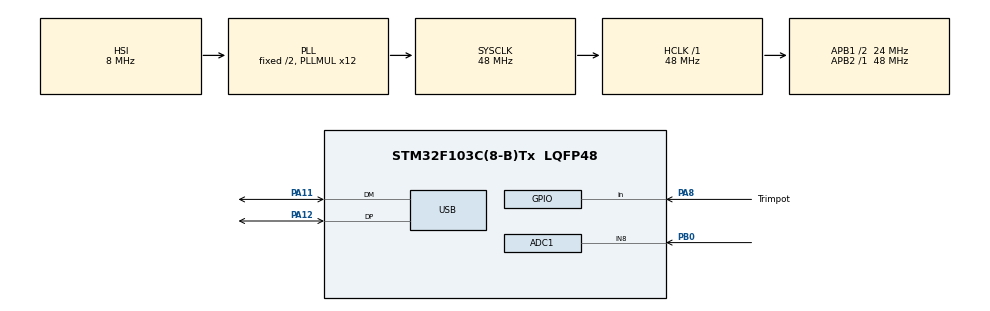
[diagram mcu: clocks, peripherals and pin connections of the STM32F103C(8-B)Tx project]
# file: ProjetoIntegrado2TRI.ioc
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ADC1.Channel-0\#ChannelRegularConversion=ADC_CHANNEL_8
ADC1.NbrOfConversionFlag=1
ADC1.Rank-0\#ChannelRegularConversion=1
ADC1.SamplingTime-0\#ChannelRegularConversion=ADC_SAMPLETIME_1CYCLE_5
ADC1.master=1
Mcu.Family=STM32F1
Mcu.Name=STM32F103C(8-B)Tx
Mcu.Package=LQFP48
NVIC.PriorityGroup=NVIC_PRIORITYGROUP_4
NVIC.USB_LP_CAN1_RX0_IRQn=true\:0\:0\:false\:false\:true\:false\:true
PA11.Mode=Device
PA11.Signal=USB_DM
PA12.Mode=Device
PA12.Signal=USB_DP
PA13.Mode=Serial_Wire
PA13.Signal=SYS_JTMS-SWDIO
PA14.Mode=Serial_Wire
PA14.Signal=SYS_JTCK-SWCLK
PA8.GPIO_Label=Trimpot
PA8.Signal=GPIO_Input
PB0.Signal=ADCx_IN8
ProjectManager.HeapSize=0x200
ProjectManager.StackSize=0x400
ProjectManager.TargetToolchain=STM32CubeIDE
RCC.AHBFreq_Value=48000000
RCC.APB1CLKDivider=RCC_HCLK_DIV2
RCC.APB1Freq_Value=24000000
RCC.APB1TimFreq_Value=48000000
RCC.APB2Freq_Value=48000000
RCC.APB2TimFreq_Value=48000000
RCC.HCLKFreq_Value=48000000
RCC.PLLMUL=RCC_PLL_MUL12
RCC.PLLSourceVirtualString=RCC_PLLSOURCE_HSI_DIV2
RCC.SYSCLKFreq_VALUE=48000000
RCC.SYSCLKSource=RCC_SYSCLKSOURCE_PLLCLK
RCC.USBFreq_Value=48000000
SH.ADCx_IN8.0=ADC1_IN8,IN8
USB_DEVICE.CLASS_NAME_FS=CDC
USB_DEVICE.VirtualMode=Cdc
USB_DEVICE.VirtualModeFS=Cdc_FS
VP_USB_DEVICE_VS_USB_DEVICE_CDC_FS.Mode=CDC_FS
board=custom

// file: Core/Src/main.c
/* USER CODE BEGIN Header */
/**
  ******************************************************************************
  * @file           : main.c
  * @brief          : Main program body
  ******************************************************************************
  */
/* USER CODE END Header */

#include "main.h"
#include "usb_device.h"

/* USER CODE BEGIN Includes */
#include "usbd_cdc_if.h"
#include <stdio.h>
/* USER CODE END Includes */

/* USER CODE BEGIN PD */

#define PROTO_START     0xAA
#define PROTO_END       0x55
#define PROTO_CMD_ADC   0x01
#define PROTO_LEN_ADC   0x02

/* LEDs */
#define LED1_PIN        GPIO_PIN_3
#define LED2_PIN        GPIO_PIN_4
#define LED3_PIN        GPIO_PIN_5
#define LED4_PIN        GPIO_PIN_6

/* USER CODE END PD */

ADC_HandleTypeDef hadc1;

/* USER CODE BEGIN PV */
uint32_t lastSendTime = 0;
/* USER CODE END PV */

void SystemClock_Config(void);
static void MX_GPIO_Init(void);
static void MX_ADC1_Init(void);

/* USER CODE BEGIN 0 */

/*
 * Faz uma conversão ADC única:
 * inicia -> aguarda -> lê -> para
 *
 * PA0 = ADC_CHANNEL_0
 *
 * Retorna um valor entre 0 e 4095.
 */
uint16_t Read_ADC_Value(void)
{
    uint16_t adcValue = 0;

    HAL_ADC_Start(&hadc1);

    if (HAL_ADC_PollForConversion(&hadc1, 10) == HAL_OK)
    {
        adcValue = HAL_ADC_GetValue(&hadc1);
    }

    HAL_ADC_Stop(&hadc1);

    return adcValue;
}

/*
 * Controla os LEDs conforme o valor do ADC.
 *
 * 0 - 1023       -> nenhum LED
 * 1024 - 2047    -> PB3
 * 2048 - 3071    -> PB3 + PB4
 * 3072 - 3583    -> PB3 + PB4 + PB5
 * 3584 - 4095    -> PB3 + PB4 + PB5 + PB6
 */
void Atualizar_LEDs(uint16_t valor)
{
    /* Desliga todos primeiro */
    HAL_GPIO_WritePin(GPIOB, LED1_PIN, GPIO_PIN_RESET);
    HAL_GPIO_WritePin(GPIOB, LED2_PIN, GPIO_PIN_RESET);
    HAL_GPIO_WritePin(GPIOB, LED3_PIN, GPIO_PIN_RESET);
    HAL_GPIO_WritePin(GPIOB, LED4_PIN, GPIO_PIN_RESET);

    if (valor >= 1024)
    {
        HAL_GPIO_WritePin(GPIOB, LED1_PIN, GPIO_PIN_SET);
    }

    if (valor >= 2048)
    {
        HAL_GPIO_WritePin(GPIOB, LED2_PIN, GPIO_PIN_SET);
    }

    if (valor >= 3072)
    {
        HAL_GPIO_WritePin(GPIOB, LED3_PIN, GPIO_PIN_SET);
    }

    if (valor >= 3584)
    {
        HAL_GPIO_WritePin(GPIOB, LED4_PIN, GPIO_PIN_SET);
    }
}

/*
 * Monta o pacote BINÁRIO proprietário:
 *
 * [START][CMD][LEN][DATA_HIGH][DATA_LOW][CHK][END]
 *
 * Exemplo para ADC = 2048:
 *
 * AA 01 02 08 00 0B 55
 *
 * O checksum continua sendo exatamente:
 *
 * CMD ^ LEN ^ DATA_HIGH ^ DATA_LOW
 */
void Send_ADC_Value_USB(uint16_t value)
{
    uint8_t packet[7];

    uint8_t data_high =
        (uint8_t)((value >> 8) & 0xFF);

    uint8_t data_low =
        (uint8_t)(value & 0xFF);

    uint8_t checksum;

    packet[0] = PROTO_START;
    packet[1] = PROTO_CMD_ADC;
    packet[2] = PROTO_LEN_ADC;
    packet[3] = data_high;
    packet[4] = data_low;

    /* Mesmo checksum do protocolo original */
    checksum =
        packet[1] ^
        packet[2] ^
        packet[3] ^
        packet[4];

    packet[5] = checksum;
    packet[6] = PROTO_END;

    /*
     * Envia exatamente os 7 bytes
     * do protocolo proprietário.
     */
    CDC_Transmit_FS(packet, sizeof(packet));
}

/* USER CODE END 0 */

int main(void)
{

    /* MCU Configuration--------------------------------------------------------*/

    HAL_Init();

    /* Configure the system clock */
    SystemClock_Config();

    /* Initialize all configured peripherals */
    MX_GPIO_Init();
    MX_USB_DEVICE_Init();
    MX_ADC1_Init();

    /* USER CODE BEGIN 2 */

    /* Garante que todos os LEDs começam desligados */
    HAL_GPIO_WritePin(
        GPIOB,
        LED1_PIN | LED2_PIN | LED3_PIN | LED4_PIN,
        GPIO_PIN_RESET
    );

    /* USER CODE END 2 */

    /* Infinite loop */
    while (1)
    {
        if (HAL_GetTick() - lastSendTime >= 500)
        {
            lastSendTime = HAL_GetTick();

            /*
             * 1. Lê o trimpot
             */
            uint16_t valor = Read_ADC_Value();

            /*
             * 2. Atualiza os LEDs
             */
            Atualizar_LEDs(valor);

            /*
             * 3. Envia o ADC pelo protocolo proprietário
             */
            Send_ADC_Value_USB(valor);
        }
    }
}

void SystemClock_Config(void)
{
    RCC_OscInitTypeDef RCC_OscInitStruct = {0};
    RCC_ClkInitTypeDef RCC_ClkInitStruct = {0};
    RCC_PeriphCLKInitTypeDef PeriphClkInit = {0};

    RCC_OscInitStruct.OscillatorType = RCC_OSCILLATORTYPE_HSI;
    RCC_OscInitStruct.HSIState = RCC_HSI_ON;
    RCC_OscInitStruct.HSICalibrationValue =
        RCC_HSICALIBRATION_DEFAULT;

    RCC_OscInitStruct.PLL.PLLState = RCC_PLL_ON;
    RCC_OscInitStruct.PLL.PLLSource =
        RCC_PLLSOURCE_HSI_DIV2;
    RCC_OscInitStruct.PLL.PLLMUL = RCC_PLL_MUL12;

    if (HAL_RCC_OscConfig(&RCC_OscInitStruct) != HAL_OK)
    {
        Error_Handler();
    }

    RCC_ClkInitStruct.ClockType =
        RCC_CLOCKTYPE_HCLK |
        RCC_CLOCKTYPE_SYSCLK |
        RCC_CLOCKTYPE_PCLK1 |
        RCC_CLOCKTYPE_PCLK2;

    RCC_ClkInitStruct.SYSCLKSource =
        RCC_SYSCLKSOURCE_PLLCLK;

    RCC_ClkInitStruct.AHBCLKDivider =
        RCC_SYSCLK_DIV1;

    RCC_ClkInitStruct.APB1CLKDivider =
        RCC_HCLK_DIV2;

    RCC_ClkInitStruct.APB2CLKDivider =
        RCC_HCLK_DIV1;

    if (HAL_RCC_ClockConfig(
            &RCC_ClkInitStruct,
            FLASH_LATENCY_1) != HAL_OK)
    {
        Error_Handler();
    }

    PeriphClkInit.PeriphClockSelection =
        RCC_PERIPHCLK_ADC |
        RCC_PERIPHCLK_USB;

    PeriphClkInit.AdcClockSelection =
        RCC_ADCPCLK2_DIV4;

    PeriphClkInit.UsbClockSelection =
        RCC_USBCLKSOURCE_PLL;

    if (HAL_RCCEx_PeriphCLKConfig(
            &PeriphClkInit) != HAL_OK)
    {
        Error_Handler();
    }
}

static void MX_ADC1_Init(void)
{
    ADC_ChannelConfTypeDef sConfig = {0};

    hadc1.Instance = ADC1;

    hadc1.Init.ScanConvMode =
        ADC_SCAN_DISABLE;

    hadc1.Init.ContinuousConvMode =
        DISABLE;

    hadc1.Init.DiscontinuousConvMode =
        DISABLE;

    hadc1.Init.ExternalTrigConv =
        ADC_SOFTWARE_START;

    hadc1.Init.DataAlign =
        ADC_DATAALIGN_RIGHT;

    hadc1.Init.NbrOfConversion = 1;

    if (HAL_ADC_Init(&hadc1) != HAL_OK)
    {
        Error_Handler();
    }

    /*
     * PA0 = ADC_CHANNEL_0
     */
    sConfig.Channel = ADC_CHANNEL_0;

    sConfig.Rank =
        ADC_REGULAR_RANK_1;

    sConfig.SamplingTime =
        ADC_SAMPLETIME_55CYCLES_5;

    if (HAL_ADC_ConfigChannel(
            &hadc1,
            &sConfig) != HAL_OK)
    {
        Error_Handler();
    }
}

static void MX_GPIO_Init(void)
{
    GPIO_InitTypeDef GPIO_InitStruct = {0};

    /* GPIO clocks */
    __HAL_RCC_GPIOA_CLK_ENABLE();
    __HAL_RCC_GPIOB_CLK_ENABLE();
    __HAL_RCC_AFIO_CLK_ENABLE();

    /*
     * Libera PB3 e PB4 do JTAG,
     * mantendo o SWD para programação/debug.
     */
    __HAL_AFIO_REMAP_SWJ_NOJTAG();

    /*
     * PA0 = entrada analógica do trimpot
     */
    GPIO_InitStruct.Pin = GPIO_PIN_0;
    GPIO_InitStruct.Mode = GPIO_MODE_ANALOG;

    HAL_GPIO_Init(
        GPIOA,
        &GPIO_InitStruct
    );

    /*
     * PB3, PB4, PB5 e PB6 = LEDs
     */
    GPIO_InitStruct.Pin =
        LED1_PIN |
        LED2_PIN |
        LED3_PIN |
        LED4_PIN;

    GPIO_InitStruct.Mode =
        GPIO_MODE_OUTPUT_PP;

    GPIO_InitStruct.Pull =
        GPIO_NOPULL;

    GPIO_InitStruct.Speed =
        GPIO_SPEED_FREQ_LOW;

    HAL_GPIO_Init(
        GPIOB,
        &GPIO_InitStruct
    );

    /*
     * Todos os LEDs começam desligados.
     */
    HAL_GPIO_WritePin(
        GPIOB,
        LED1_PIN |
        LED2_PIN |
        LED3_PIN |
        LED4_PIN,
        GPIO_PIN_RESET
    );
}

void Error_Handler(void)
{
    __disable_irq();
    while (1)
    {
    }
}

/************************ (C) COPYRIGHT STMicroelectronics *****END OF FILE****/
